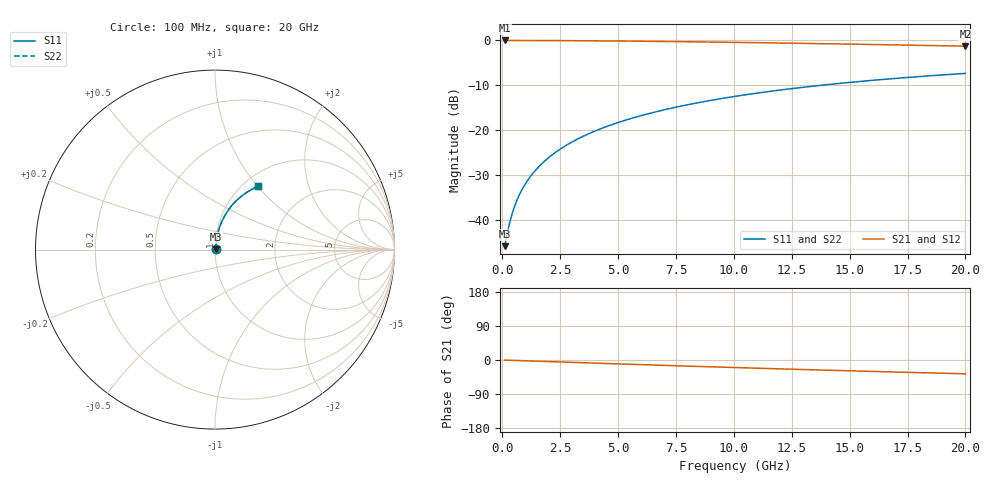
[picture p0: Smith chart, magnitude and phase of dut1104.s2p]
! Touchstone file exported from HFSS 2024.1.0
!  File:  C:/UserFiles/LocalFiles/RDL_TSV_Batchsim/temp_RDL_bottom_1104_1780054154.aedt
!  Generated:  07:31:41 PM May 29, 2026
!  Design:  RDL_bottom
!  Project:  temp_RDL_bottom_1104_1780054154
!  Setup:  Setup1
!  Solution:  Sweep
! Variables:
!  dtsv = 10.80580581um
!  hbump = 3um
!  htsv = 99.78um
!  ldown = 462.18um
!  lrdl = 100um
!  p = 40
!  p1 = 43.64um
!  rhole = 1um
!  t = 450um
!  tdown = 3.48um
!  trdl = 3.915915916um
!  wdown = 10.9um
!  wrdl = 20um
# GHz S MA R 50.000000
! Terminal data exported
! Port[1] = RDL1_T1
! Port[2] = RDL1_T2
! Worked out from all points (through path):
!   200 points, 100 MHz to 20 GHz, reference 50 ohm
!   highest |S21| = -0.04 dB at 100 MHz (marker M1); lowest = -1.3 dB at 20 GHz (marker M2)
!   group delay of S21, straight-line fit = 5.07 ps
!   lowest |S11| = -45.9 dB at 100 MHz (marker M3), VSWR 1.01, Z = 50.4 + j0.254 ohm
!   |S11| at or under -10 dB: start of sweep to 13.84 GHz
!   |S22| runs from -45.9 to -7.4 dB; largest |S21 - S12| = 3.1e-15
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0.1  0.005055 29.9  0.9956 -0.2  0.9956 -0.2  0.005055 29.9
! Gamma 0 0 0 0
! Port Impedance 50 0 50 0
0.3  0.00878 58.9  0.9955 -0.6  0.9955 -0.6  0.00878 58.9
0.4  0.01101 65.0  0.9954 -0.9  0.9954 -0.9  0.01101 65.0
0.5  0.01332 68.9  0.9953 -1.1  0.9953 -1.1  0.01332 68.9
0.6  0.01565 71.6  0.9951 -1.3  0.9951 -1.3  0.01565 71.6
0.7  0.01801 73.6  0.995 -1.5  0.995 -1.5  0.01801 73.6
0.9  0.02275 76.2  0.9947 -1.9  0.9947 -1.9  0.02275 76.2
1.2  0.0299 78.5  0.9943 -2.5  0.9943 -2.5  0.0299 78.5
1.4  0.03468 79.4  0.994 -2.9  0.994 -2.9  0.03468 79.4
1.7  0.04188 80.2  0.9934 -3.6  0.9934 -3.6  0.04188 80.2
2.2  0.05391 80.8  0.9923 -4.6  0.9923 -4.6  0.05391 80.8
2.8  0.06835 80.8  0.9906 -5.8  0.9906 -5.8  0.06835 80.8
3.5  0.08517 80.4  0.9882 -7.3  0.9882 -7.3  0.08517 80.4
4.2  0.1019 79.7  0.9854 -8.7  0.9854 -8.7  0.1019 79.7
5  0.121 78.7  0.9816 -10.3  0.9816 -10.3  0.121 78.7
5.9  0.1422 77.5  0.9768 -12.1  0.9768 -12.1  0.1422 77.5
6.8  0.1633 76.2  0.9714 -13.8  0.9714 -13.8  0.1633 76.2
8.3  0.1978 73.8  0.9614 -16.7  0.9614 -16.7  0.1977 73.8
10.1  0.2379 71.0  0.948 -20.0  0.948 -20.0  0.2379 71.0
13.4  0.3074 65.6  0.9205 -25.9  0.9205 -25.9  0.3074 65.6
16.7  0.3707 60.5  0.8909 -31.3  0.8909 -31.3  0.3707 60.5
20  0.4273 55.5  0.8604 -36.5  0.8604 -36.5  0.4272 55.5
